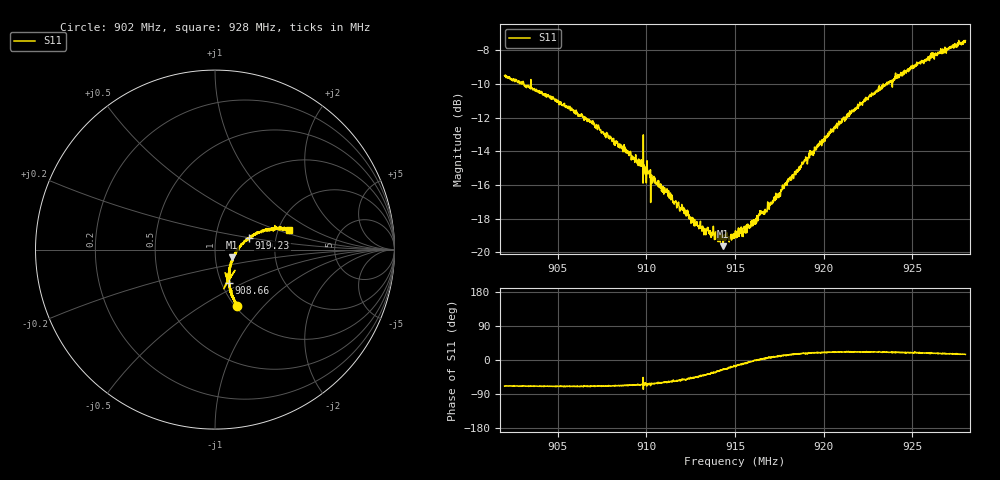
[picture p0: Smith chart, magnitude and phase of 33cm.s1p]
! Calibrated averaged scanner-service zoom
# Hz S RI R 50
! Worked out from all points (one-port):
!   2001 points, 902 MHz to 928 MHz, reference 50 ohm
!   lowest |S11| = -19.6 dB at 914.34 MHz (marker M1), VSWR 1.23, Z = 60.2 - j5.35 ohm
!   |S11| at or under -10 dB: 903.084 MHz to 903.476 MHz (392.1 kHz wide, 0.0434 % of centre); 903.49 MHz to 923.51 MHz (20.02 MHz wide, 2.19 % of centre); 923.5305 MHz to 923.5547 MHz (24.22 kHz wide, 0.00262 % of centre)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
!   S11 on the Smith chart (normalised r, x): 902 MHz: 1.02, -0.72; 908.66 MHz: 1.08, -0.42; 919.23 MHz: 1.45, +0.19; 928 MHz: 2.28, +0.60
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9.02e8  0.1216 -0.3117
9.03404e8  0.1103 -0.2874
9.0525e8  0.0964 -0.2563
9.06953e8  0.0869 -0.2258
9.085e8  0.0751 -0.1896
9.08656e8  0.0768 -0.1862
9.09423e8  0.0753 -0.1702
9.09696e8  0.0786 -0.1676
9.10346e8  0.075 -0.1465
9.1123e8  0.0795 -0.123
9.1175e8  0.0814 -0.1114
9.12569e8  0.0835 -0.0901
9.13232e8  0.0874 -0.0754
9.13947e8  0.0972 -0.0602
9.14337e8  0.0945 -0.0439
9.15e8  0.107 -0.0311
9.15234e8  0.109 -0.023
9.15546e8  0.117 -0.0198
9.16183e8  0.126 -0.00366
9.16456e8  0.1301 0.00489
9.16703e8  0.1335 0.0111
9.1825e8  0.1621 0.0423
9.19225e8  0.1899 0.0636
9.215e8  0.242 0.0953
9.23255e8  0.2868 0.1043
9.2475e8  0.3307 0.1157
9.2605e8  0.3686 0.1212
9.28e8  0.411 0.1085
